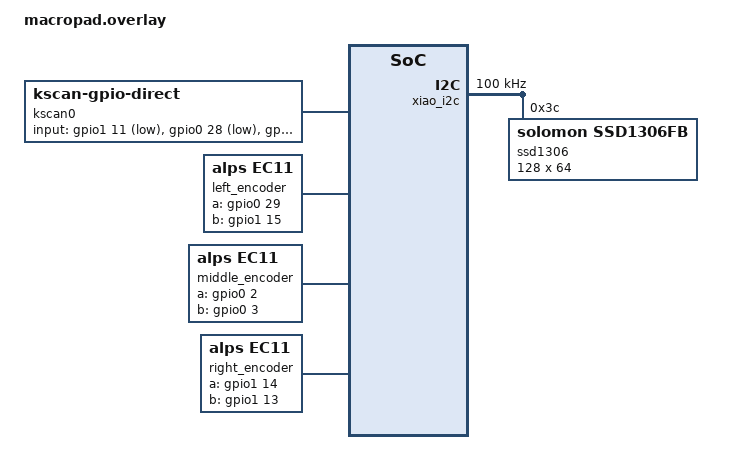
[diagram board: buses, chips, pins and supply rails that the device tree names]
#include <dt-bindings/gpio/gpio.h>

/ {
    chosen {
        zephyr,display = &ssd1306;
    };

    // 3 encoder push-buttons as direct-GPIO keys
    kscan0: kscan0 {
        compatible = "zmk,kscan-gpio-direct";
        input-gpios
            = <&gpio1 11 (GPIO_ACTIVE_LOW | GPIO_PULL_UP)>  // SW1 = D6
            , <&gpio0 28 (GPIO_ACTIVE_LOW | GPIO_PULL_UP)>  // SW2 = D2
            , <&gpio1 12 (GPIO_ACTIVE_LOW | GPIO_PULL_UP)>  // SW3 = D7
            ;
    };

    // Encoder 1: A=D3, B=D10
    left_encoder: encoder_left {
        compatible = "alps,ec11";
        a-gpios = <&gpio0 29 (GPIO_ACTIVE_HIGH | GPIO_PULL_UP)>;
        b-gpios = <&gpio1 15 (GPIO_ACTIVE_HIGH | GPIO_PULL_UP)>;
        steps = <80>;
        status = "okay";
    };

    // Encoder 2: A=D0, B=D1
    middle_encoder: encoder_middle {
        compatible = "alps,ec11";
        a-gpios = <&gpio0 2 (GPIO_ACTIVE_HIGH | GPIO_PULL_UP)>;
        b-gpios = <&gpio0 3 (GPIO_ACTIVE_HIGH | GPIO_PULL_UP)>;
        steps = <80>;
        status = "okay";
    };

    // Encoder 3: A=D9, B=D8
    right_encoder: encoder_right {
        compatible = "alps,ec11";
        a-gpios = <&gpio1 14 (GPIO_ACTIVE_HIGH | GPIO_PULL_UP)>;
        b-gpios = <&gpio1 13 (GPIO_ACTIVE_HIGH | GPIO_PULL_UP)>;
        steps = <80>;
        status = "okay";
    };

    sensors: sensors {
        compatible = "zmk,keymap-sensors";
        sensors = <&left_encoder &middle_encoder &right_encoder>;
        triggers-per-rotation = <20>;
    };
};

// OLED on the XIAO's built-in I2C bus (D4=SDA, D5=SCL)
&xiao_i2c {
    status = "okay";
    clock-frequency = <100000>;

    ssd1306: ssd1306@3c {
        compatible = "solomon,ssd1306fb";
        reg = <0x3c>;
        width = <128>;
        height = <64>;      // change to <32> if your OLED is 128x32
        segment-remap;
        com-invdir;
        prechargep = <0x22>;
    };
};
